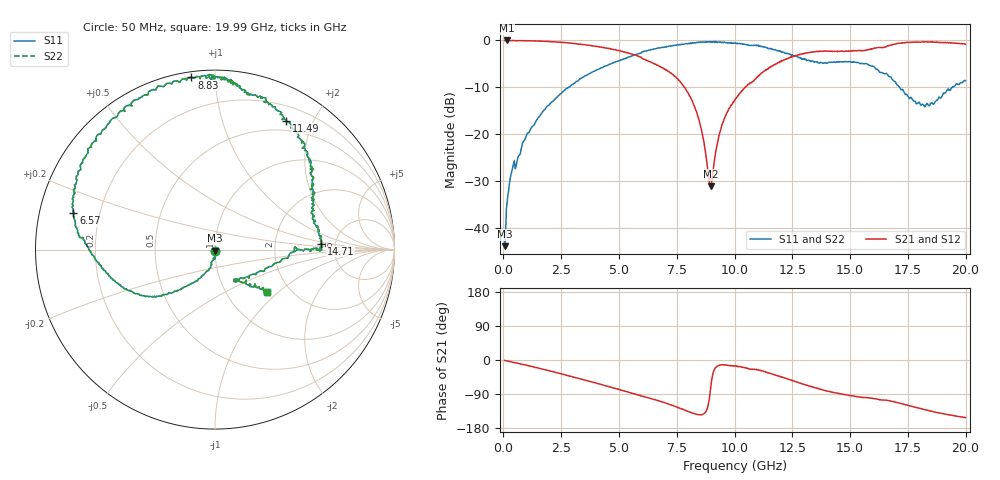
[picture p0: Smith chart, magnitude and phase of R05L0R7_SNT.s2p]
! 250R05L0R7CV4
! Data taken January 31, 2003
! Data taken on a HP 8720C VNA using a shunt-through test fixture and TRL* de-embedding
#	mhz	s	ma	r	50
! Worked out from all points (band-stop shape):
!   998 points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, 50 MHz to 19.99 GHz, reference 50 ohm
!   highest |S21| = 0.00 dB at 150 MHz (marker M1); lowest = -31.1 dB at 8.97 GHz (marker M2)
!   |S21| within 3 dB of the highest: start of sweep to 5.613 GHz; 12.8 GHz to end of sweep
!   lowest |S11| = -43.8 dB at 70 MHz (marker M3), VSWR 1.01, Z = 50 - j0.641 ohm
!   |S11| at or under -10 dB: start of sweep to 2.812 GHz; 17.15 GHz to 19.41 GHz (2.261 GHz wide, 12.4 % of centre)
!   |S22| runs from -43.8 to -0.2 dB; largest |S21 - S12| = 0
!   S11 on the Smith chart (normalised r, x): 50 MHz: 1.00, -0.02; 6.57 GHz: 0.10, +0.12; 8.83 GHz: 0.03, +0.87; 11.49 GHz: 0.37, +1.63; 14.71 GHz: 3.85, +0.40; 19.99 GHz: 1.54, -0.84
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50  0.00887 -102.6  1 -1.1  1 -1.1  0.00887 -102.6
70  0.00643 -93.9  0.9967 -1.3  0.9967 -1.3  0.00643 -93.9
150  0.01804 -88.7  1 -2.6  1 -2.6  0.01804 -88.7
390  0.04306 -90.1  0.9972 -5.7  0.9972 -5.7  0.04306 -90.1
1010  0.0994 -104.1  0.9913 -14.1  0.9913 -14.1  0.0994 -104.1
3390  0.3978 -139.6  0.9061 -50.8  0.9061 -50.8  0.3978 -139.6
5070  0.6196 -167.9  0.7738 -79.1  0.7738 -79.1  0.6196 -167.9
6570  0.8141 165.6  0.5583 -104.8  0.5583 -104.8  0.8141 165.6
6710  0.8283 163.0  0.5367 -107.6  0.5367 -107.6  0.8283 163.0
7450  0.8891 144.1  0.4099 -123.0  0.4099 -123.0  0.8891 144.1
8150  0.9373 120.2  0.2315 -138.8  0.2315 -138.8  0.9373 120.2
8550  0.9646 106.0  0.1176 -144.2  0.1176 -144.2  0.9646 106.0
8830  0.968 97.8  0.04432 -126.5  0.04432 -126.5  0.968 97.8
8970  0.9562 95.0  0.02786 -72.4  0.02786 -72.4  0.9562 95.0
9410  0.9587 87.9  0.115 -13.1  0.115 -13.1  0.9587 87.9
10030  0.9352 83.9  0.2345 -15.7  0.2345 -15.7  0.9352 83.9
11490  0.8211 61.1  0.511 -34.4  0.511 -34.4  0.8211 61.1
13350  0.6062 24.3  0.7527 -71.1  0.7527 -71.1  0.6062 24.3
14710  0.5911 3.2  0.7632 -90.7  0.7632 -90.7  0.5911 3.2
16670  0.415 -3.7  0.8782 -107.2  0.8782 -107.2  0.415 -3.7
18190  0.2034 -54.6  0.9664 -130.3  0.9664 -130.3  0.2034 -54.6
19990  0.3724 -39.0  0.9125 -152.1  0.9125 -152.1  0.3724 -39.0
